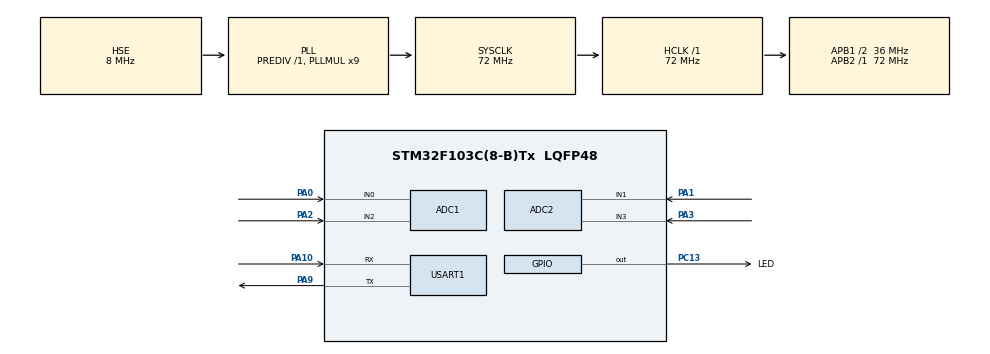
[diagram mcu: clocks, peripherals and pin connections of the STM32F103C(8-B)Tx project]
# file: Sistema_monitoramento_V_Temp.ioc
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ADC1.Channel-0\#ChannelRegularConversion=ADC_CHANNEL_0
ADC1.Channel-1\#ChannelRegularConversion=ADC_CHANNEL_2
ADC1.ContinuousConvMode=ENABLE
ADC1.Mode=ADC_DUALMODE_REGSIMULT
ADC1.NbrOfConversion=2
ADC1.NbrOfConversionFlag=1
ADC1.Rank-0\#ChannelRegularConversion=1
ADC1.Rank-1\#ChannelRegularConversion=2
ADC1.SamplingTime-0\#ChannelRegularConversion=ADC_SAMPLETIME_239CYCLES_5
ADC1.SamplingTime-1\#ChannelRegularConversion=ADC_SAMPLETIME_239CYCLES_5
ADC1.master=1
ADC2.Channel-0\#ChannelRegularConversion=ADC_CHANNEL_1
ADC2.Channel-1\#ChannelRegularConversion=ADC_CHANNEL_3
ADC2.ContinuousConvMode=ENABLE
ADC2.Mode=ADC_DUALMODE_REGSIMULT
ADC2.NbrOfConversion=2
ADC2.NbrOfConversionFlag=1
ADC2.Rank-0\#ChannelRegularConversion=1
ADC2.Rank-1\#ChannelRegularConversion=2
ADC2.SamplingTime-0\#ChannelRegularConversion=ADC_SAMPLETIME_239CYCLES_5
ADC2.SamplingTime-1\#ChannelRegularConversion=ADC_SAMPLETIME_239CYCLES_5
Dma.ADC1.0.Direction=DMA_PERIPH_TO_MEMORY
Dma.ADC1.0.Instance=DMA1_Channel1
Dma.ADC1.0.MemDataAlignment=DMA_MDATAALIGN_WORD
Dma.ADC1.0.MemInc=DMA_MINC_ENABLE
Dma.ADC1.0.Mode=DMA_CIRCULAR
Dma.ADC1.0.PeriphDataAlignment=DMA_PDATAALIGN_WORD
Dma.ADC1.0.PeriphInc=DMA_PINC_DISABLE
Dma.ADC1.0.Priority=DMA_PRIORITY_LOW
Dma.Request0=ADC1
Mcu.Family=STM32F1
Mcu.Name=STM32F103C(8-B)Tx
Mcu.Package=LQFP48
NVIC.DMA1_Channel1_IRQn=true\:0\:0\:false\:false\:true\:false\:true
NVIC.PriorityGroup=NVIC_PRIORITYGROUP_4
NVIC.USART1_IRQn=true\:0\:0\:false\:false\:true\:true\:true
PA0-WKUP.Signal=ADCx_IN0
PA1.Signal=ADCx_IN1
PA10.Mode=Asynchronous
PA10.Signal=USART1_RX
PA13.Mode=Serial_Wire
PA13.Signal=SYS_JTMS-SWDIO
PA14.Mode=Serial_Wire
PA14.Signal=SYS_JTCK-SWCLK
PA2.Signal=ADCx_IN2
PA3.Signal=ADCx_IN3
PA9.Mode=Asynchronous
PA9.Signal=USART1_TX
PC13-TAMPER-RTC.GPIO_Label=LED
PC13-TAMPER-RTC.Signal=GPIO_Output
PD0-OSC_IN.Mode=HSE-External-Oscillator
PD0-OSC_IN.Signal=RCC_OSC_IN
PD1-OSC_OUT.Mode=HSE-External-Oscillator
PD1-OSC_OUT.Signal=RCC_OSC_OUT
ProjectManager.HeapSize=0x200
ProjectManager.StackSize=0x400
ProjectManager.TargetToolchain=SW4STM32
RCC.ADCPresc=RCC_ADCPCLK2_DIV6
RCC.AHBFreq_Value=72000000
RCC.APB1CLKDivider=RCC_HCLK_DIV2
RCC.APB1Freq_Value=36000000
RCC.APB1TimFreq_Value=72000000
RCC.APB2Freq_Value=72000000
RCC.APB2TimFreq_Value=72000000
RCC.HCLKFreq_Value=72000000
RCC.PLLMUL=RCC_PLL_MUL9
RCC.PLLSourceVirtual=RCC_PLLSOURCE_HSE
RCC.SYSCLKFreq_VALUE=72000000
RCC.SYSCLKSource=RCC_SYSCLKSOURCE_PLLCLK
RCC.USBFreq_Value=72000000
SH.ADCx_IN0.0=ADC1_IN0,IN0
SH.ADCx_IN1.0=ADC2_IN1,IN1
SH.ADCx_IN2.0=ADC1_IN2,IN2
SH.ADCx_IN3.0=ADC2_IN3,IN3
USART1.VirtualMode=VM_ASYNC
board=custom

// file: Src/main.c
/* USER CODE BEGIN Header */
/**
  ******************************************************************************
  * @file           : main.c
  * @brief          : Main program body
  ******************************************************************************
  * @attention
  *
  * <h2><center>&copy; Copyright (c) 2020 STMicroelectronics.
  * All rights reserved.</center></h2>
  *
  * This software component is licensed by ST under BSD 3-Clause license,
  * the "License"; You may not use this file except in compliance with the
  * License. You may obtain a copy of the License at:
  *                        opensource.org/licenses/BSD-3-Clause
  *
  ******************************************************************************
  */
/* USER CODE END Header */

#include "main.h"

/* USER CODE BEGIN Includes */
#include <string.h>
#include <stdio.h>
#include <math.h>
#include "MQTTPacket.h"
#include "MQTT_ESP.h"
/* USER CODE END Includes */

/* USER CODE BEGIN PTD */

#define NSample 212
#define NStart 10
#define NSampleStart 202

uint16_t  i=0, flag = 0;

char str[32] = {0};

uint16_t adc_array[4];
float V1_Data[NSample], V2_Data[NSample], V3_Data[NSample];
float SumV1 = 0, V1n = 0, V1rms = 0,
	  SumV2 = 0, V2n = 0, V2rms = 0,
	  SumV3 = 0, V3n = 0, V3rms = 0,
	  SumTemp = 0, Temperatura;

char* ssid = "SSID";
char* password = "YourPASS";
char* mqtt_server = "mqtt.eclipse.org"; // or other server
char* mqtt_user = "IF Use";
char* mqtt_user_pass = "IF Use";
char* mqtt_ClientID = "system_monitoring_v_temp";

/* USER CODE END PTD */

ADC_HandleTypeDef hadc1;
ADC_HandleTypeDef hadc2;
DMA_HandleTypeDef hdma_adc1;

UART_HandleTypeDef huart1;

void SystemClock_Config(void);
static void MX_GPIO_Init(void);
static void MX_DMA_Init(void);
static void MX_ADC1_Init(void);
static void MX_ADC2_Init(void);
static void MX_USART1_UART_Init(void);

/* USER CODE BEGIN 0 */

void HAL_ADC_ConvCpltCallback(ADC_HandleTypeDef* hadc) 	// DO WHAT YOU WANT ON THE ADC
{
	if(flag == 0)
	{
		if( i < (NSample))
		{
			if( i >= NStart) //  Start buffer recorder
				{
				//	Buffer
				V1_Data[i] = V1n = (((adc_array[0] * 0.0008056640625) - 1.6453255531) * 1095.36);
				V2_Data[i] = V2n = (((adc_array[1] * 0.0008056640625) - 1.6399012802) * 1095.36);
				V3_Data[i] = V3n = (((adc_array[2] * 0.0008056640625) - 1.6440070487) * 1095.36);

				SumV1 = SumV1 + V1n*V1n;
				SumV2 = SumV2 + V2n*V2n;
				SumV3 = SumV3 + V3n*V3n;
				SumTemp = SumTemp + ((adc_array[3] * 0.0008056640625) * 100);

				// Restart Acquisition
				HAL_ADCEx_MultiModeStart_DMA(&hadc1, (uint32_t*)adc_array, sizeof(adc_array));
				}
			else
				{
				// Restart Acquisition
				HAL_ADCEx_MultiModeStart_DMA(&hadc1, (uint32_t*)adc_array, sizeof(adc_array));
				}
		}
		else
		{
			// Calculation of the RMS values and reset tags and variables
			V1rms = sqrt (SumV1/NSampleStart);
			V2rms = sqrt (SumV2/NSampleStart);
			V3rms = sqrt (SumV3/NSampleStart);
			Temperatura = (SumTemp/NSampleStart);
			SumV1 = 0, SumV2 = 0, SumV3 = 0;
			SumTemp = 0;
			i = 0;
			flag = 1;

		}
	i++;
	}
}
/* USER CODE END 0 */

int main(void)
{

  /* MCU Configuration--------------------------------------------------------*/

  /* Reset of all peripherals, Initializes the Flash interface and the Systick. */
  HAL_Init();

  /* Configure the system clock */
  SystemClock_Config();

  /* Initialize all configured peripherals */
  MX_GPIO_Init();
  MX_DMA_Init();
  MX_ADC1_Init();
  MX_ADC2_Init();
  MX_USART1_UART_Init();
  /* USER CODE BEGIN 2 */

  /* Start Calibration */
  HAL_ADCEx_Calibration_Start(&hadc1);
  HAL_ADCEx_Calibration_Start(&hadc2);

  /* Start ADC2 */
  HAL_ADC_Start(&hadc2);

  int error = 0;

  /* Initialize and conect to server */
  ESP_Init();
  MQTT_Connect(mqtt_server, 1883 , mqtt_user, mqtt_user_pass, mqtt_ClientID, 300);

  /* Start Acquisition */
  HAL_ADCEx_MultiModeStart_DMA(&hadc1, (uint32_t*)adc_array, sizeof(adc_array));

  /* USER CODE END 2 */

  /* Infinite loop */
  /* USER CODE BEGIN WHILE */
  while (1)
  {
	  if(flag == 1)
	  {
	  HAL_GPIO_TogglePin(LED_GPIO_Port,LED_Pin); // Sinalizer of step

	  // Public on the MQTT broker of the message in a topic V1
	  sprintf(str, "%.2f", V1rms);
	  error = MQTT_Pub("publish/v1", str);

	  // Public on the MQTT broker of the message in a topic V2
	  sprintf(str, "%.2f", V2rms);
	  error = MQTT_Pub("publish/v2", str);

	  // Public on the MQTT broker of the message in a topic V3
	  sprintf(str, "%.2f", V3rms);
	  error = MQTT_Pub("publish/v3", str);

	  // Public on the MQTT broker of the message in a topic Temp
	  sprintf(str, "%.2f", Temperatura);
	  error = MQTT_Pub("publish/temp", str);

	  //Reconnect if error
	  if(error > 0){
		  MQTT_Connect(mqtt_server, 1883 , mqtt_user, mqtt_user_pass, mqtt_ClientID, 300);
	  }

	  flag = 0;
	  HAL_Delay(10);

	  // Restart Acquisition
	  HAL_ADCEx_MultiModeStart_DMA(&hadc1, (uint32_t*)adc_array, sizeof(adc_array));
	  }
    /* USER CODE END WHILE */

  }
}

void SystemClock_Config(void)
{
  RCC_OscInitTypeDef RCC_OscInitStruct = {0};
  RCC_ClkInitTypeDef RCC_ClkInitStruct = {0};
  RCC_PeriphCLKInitTypeDef PeriphClkInit = {0};

  /** Initializes the CPU, AHB and APB busses clocks
  */
  RCC_OscInitStruct.OscillatorType = RCC_OSCILLATORTYPE_HSE;
  RCC_OscInitStruct.HSEState = RCC_HSE_ON;
  RCC_OscInitStruct.HSEPredivValue = RCC_HSE_PREDIV_DIV1;
  RCC_OscInitStruct.HSIState = RCC_HSI_ON;
  RCC_OscInitStruct.PLL.PLLState = RCC_PLL_ON;
  RCC_OscInitStruct.PLL.PLLSource = RCC_PLLSOURCE_HSE;
  RCC_OscInitStruct.PLL.PLLMUL = RCC_PLL_MUL9;
  if (HAL_RCC_OscConfig(&RCC_OscInitStruct) != HAL_OK)
  {
    Error_Handler();
  }
  /** Initializes the CPU, AHB and APB busses clocks
  */
  RCC_ClkInitStruct.ClockType = RCC_CLOCKTYPE_HCLK|RCC_CLOCKTYPE_SYSCLK
                              |RCC_CLOCKTYPE_PCLK1|RCC_CLOCKTYPE_PCLK2;
  RCC_ClkInitStruct.SYSCLKSource = RCC_SYSCLKSOURCE_PLLCLK;
  RCC_ClkInitStruct.AHBCLKDivider = RCC_SYSCLK_DIV1;
  RCC_ClkInitStruct.APB1CLKDivider = RCC_HCLK_DIV2;
  RCC_ClkInitStruct.APB2CLKDivider = RCC_HCLK_DIV1;

  if (HAL_RCC_ClockConfig(&RCC_ClkInitStruct, FLASH_LATENCY_2) != HAL_OK)
  {
    Error_Handler();
  }
  PeriphClkInit.PeriphClockSelection = RCC_PERIPHCLK_ADC;
  PeriphClkInit.AdcClockSelection = RCC_ADCPCLK2_DIV6;
  if (HAL_RCCEx_PeriphCLKConfig(&PeriphClkInit) != HAL_OK)
  {
    Error_Handler();
  }
}

static void MX_ADC1_Init(void)
{

  ADC_MultiModeTypeDef multimode = {0};
  ADC_ChannelConfTypeDef sConfig = {0};

  /** Common config
  */
  hadc1.Instance = ADC1;
  hadc1.Init.ScanConvMode = ADC_SCAN_ENABLE;
  hadc1.Init.ContinuousConvMode = ENABLE;
  hadc1.Init.DiscontinuousConvMode = DISABLE;
  hadc1.Init.ExternalTrigConv = ADC_SOFTWARE_START;
  hadc1.Init.DataAlign = ADC_DATAALIGN_RIGHT;
  hadc1.Init.NbrOfConversion = 2;
  if (HAL_ADC_Init(&hadc1) != HAL_OK)
  {
    Error_Handler();
  }
  /** Configure the ADC multi-mode
  */
  multimode.Mode = ADC_DUALMODE_REGSIMULT;
  if (HAL_ADCEx_MultiModeConfigChannel(&hadc1, &multimode) != HAL_OK)
  {
    Error_Handler();
  }
  /** Configure Regular Channel
  */
  sConfig.Channel = ADC_CHANNEL_0;
  sConfig.Rank = ADC_REGULAR_RANK_1;
  sConfig.SamplingTime = ADC_SAMPLETIME_239CYCLES_5;
  if (HAL_ADC_ConfigChannel(&hadc1, &sConfig) != HAL_OK)
  {
    Error_Handler();
  }
  /** Configure Regular Channel
  */
  sConfig.Channel = ADC_CHANNEL_2;
  sConfig.Rank = ADC_REGULAR_RANK_2;
  if (HAL_ADC_ConfigChannel(&hadc1, &sConfig) != HAL_OK)
  {
    Error_Handler();
  }
}

static void MX_ADC2_Init(void)
{

  ADC_ChannelConfTypeDef sConfig = {0};

  /** Common config
  */
  hadc2.Instance = ADC2;
  hadc2.Init.ScanConvMode = ADC_SCAN_ENABLE;
  hadc2.Init.ContinuousConvMode = ENABLE;
  hadc2.Init.DiscontinuousConvMode = DISABLE;
  hadc2.Init.ExternalTrigConv = ADC_SOFTWARE_START;
  hadc2.Init.DataAlign = ADC_DATAALIGN_RIGHT;
  hadc2.Init.NbrOfConversion = 2;
  if (HAL_ADC_Init(&hadc2) != HAL_OK)
  {
    Error_Handler();
  }
  /** Configure Regular Channel
  */
  sConfig.Channel = ADC_CHANNEL_1;
  sConfig.Rank = ADC_REGULAR_RANK_1;
  sConfig.SamplingTime = ADC_SAMPLETIME_239CYCLES_5;
  if (HAL_ADC_ConfigChannel(&hadc2, &sConfig) != HAL_OK)
  {
    Error_Handler();
  }
  /** Configure Regular Channel
  */
  sConfig.Channel = ADC_CHANNEL_3;
  sConfig.Rank = ADC_REGULAR_RANK_2;
  if (HAL_ADC_ConfigChannel(&hadc2, &sConfig) != HAL_OK)
  {
    Error_Handler();
  }
}

static void MX_USART1_UART_Init(void)
{

  huart1.Instance = USART1;
  huart1.Init.BaudRate = 115200;
  huart1.Init.WordLength = UART_WORDLENGTH_8B;
  huart1.Init.StopBits = UART_STOPBITS_1;
  huart1.Init.Parity = UART_PARITY_NONE;
  huart1.Init.Mode = UART_MODE_TX_RX;
  huart1.Init.HwFlowCtl = UART_HWCONTROL_NONE;
  huart1.Init.OverSampling = UART_OVERSAMPLING_16;
  if (HAL_UART_Init(&huart1) != HAL_OK)
  {
    Error_Handler();
  }

}

static void MX_DMA_Init(void)
{
  /* DMA controller clock enable */
  __HAL_RCC_DMA1_CLK_ENABLE();

  /* DMA interrupt init */
  /* DMA1_Channel1_IRQn interrupt configuration */
  HAL_NVIC_SetPriority(DMA1_Channel1_IRQn, 0, 0);
  HAL_NVIC_EnableIRQ(DMA1_Channel1_IRQn);
}

static void MX_GPIO_Init(void)
{
  GPIO_InitTypeDef GPIO_InitStruct = {0};

  /* GPIO Ports Clock Enable */
  __HAL_RCC_GPIOC_CLK_ENABLE();
  __HAL_RCC_GPIOD_CLK_ENABLE();
  __HAL_RCC_GPIOA_CLK_ENABLE();

  /*Configure GPIO pin Output Level */
  HAL_GPIO_WritePin(LED_GPIO_Port, LED_Pin, GPIO_PIN_RESET);

  /*Configure GPIO pin : LED_Pin */
  GPIO_InitStruct.Pin = LED_Pin;
  GPIO_InitStruct.Mode = GPIO_MODE_OUTPUT_PP;
  GPIO_InitStruct.Pull = GPIO_NOPULL;
  GPIO_InitStruct.Speed = GPIO_SPEED_FREQ_LOW;
  HAL_GPIO_Init(LED_GPIO_Port, &GPIO_InitStruct);
}

void Error_Handler(void)
{
}

/************************ (C) COPYRIGHT STMicroelectronics *****END OF FILE****/
